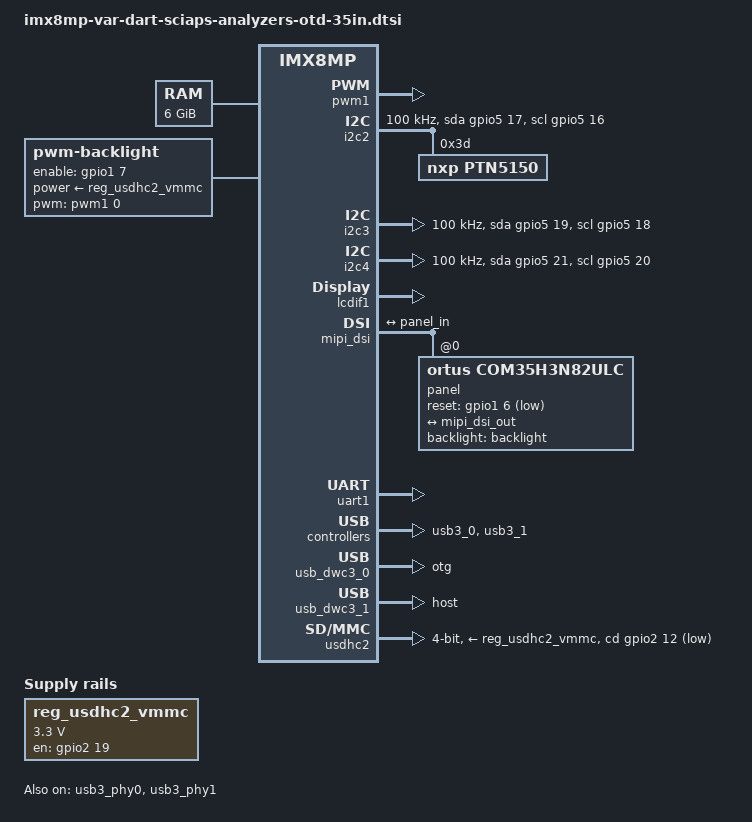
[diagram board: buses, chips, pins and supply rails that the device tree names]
// SPDX-License-Identifier: (GPL-2.0+ OR MIT)
/*
 * Copyright 2019 NXP
 * Copyright 2020-2023 Variscite Ltd.
 * Copyright 2025 SciAps.
 */

#ifdef DART_REV_1X
#include "imx8mp-var-dart-1.x.dtsi"
#else
#include "imx8mp-var-dart.dtsi"
#endif

/ {
	chosen {
		stdout-path = &uart1;
	};

	memory@40000000 {
		device_type = "memory";
		reg = <0x0 0x40000000 0 0xc0000000>,
		      <0x1 0x00000000 0 0xc0000000>;
	};

	reg_usdhc2_vmmc: regulator-usdhc2-vmmc {
		compatible = "regulator-fixed";
		pinctrl-names = "default";
		pinctrl-0 = <&pinctrl_reg_usdhc2_vmmc>;
		regulator-name = "VSD_3V3";
		regulator-min-microvolt = <3300000>;
		regulator-max-microvolt = <3300000>;
		gpio = <&gpio2 19 GPIO_ACTIVE_HIGH>;
		enable-active-high;
		startup-delay-us = <100>;
		off-on-delay-us = <12000>;
	};

	dsi_host: dsi-host {
		compatible = "samsung,sec-mipi-dsi";
		status = "okay";
	};

	backlight: backlight {
		compatible = "pwm-backlight";
		brightness-levels = < 0  1  2  3  4  5  6  7  8  9
				     10 11 12 13 14 15 16 17 18 19
				     20 21 22 23 24 25 26 27 28 29
				     30 31 32 33 34 35 36 37 38 39
				     40 41 42 43 44 45 46 47 48 49
				     50 51 52 53 54 55 56 57 58 59
				     60 61 62 63 64 65 66 67 68 69
				     70 71 72 73 74 75 76 77 78 79
				     80 81 82 83 84 85 86 87 88 89
				     90 91 92 93 94 95 96 97 98 99
				    100>;
		default-brightness-level = <80>;
		enable-gpios = <&gpio1 7 GPIO_ACTIVE_HIGH>;
		pinctrl-names = "default";
		pinctrl-0 = <&pinctrl_backlight>;
		power-supply = <&reg_usdhc2_vmmc>;
		pwms = <&pwm1 0 50000 0>;
		status = "okay";
	};
};

&pwm1 {
	pinctrl-names = "default";
	pinctrl-0 = <&pinctrl_pwm1>;
	status = "okay";
};

&eqos {
	status = "disabled";
	mdio {
		ethphy0: ethernet-phy@0 {
			compatible = "ethernet-phy-ieee802.3-c22";
			reg = <0>;
			at803x,eee-disabled;
			eee-broken-1000t;
			reset-gpios = <&gpio2 11 GPIO_ACTIVE_LOW>;
			reset-assert-us = <10000>;
			reset-deassert-us = <20000>;
			vddio-supply = <&vddio0>;
			status = "disabled";

			vddio0: vddio-regulator {
				regulator-min-microvolt = <1800000>;
				regulator-max-microvolt = <1800000>;
			};
		};
		ethphy1: ethernet-phy@1 {
			compatible = "ethernet-phy-ieee802.3-c22";
			reg = <1>;
			at803x,eee-disabled;
			eee-broken-1000t;
			//reset-gpios = <&pca6408_2 0 GPIO_ACTIVE_LOW>;
			reset-assert-us = <10000>;
			reset-deassert-us = <20000>;
			vddio-supply = <&vddio1>;
			status = "disabled";

			vddio1: vddio-regulator {
				regulator-min-microvolt = <1800000>;
				regulator-max-microvolt = <1800000>;
			};
		};
	};
};

&fec {
	pinctrl-names = "default";
	pinctrl-0 = <&pinctrl_fec>;
	phy-mode = "rgmii";
	phy-handle = <&ethphy1>;
	status = "disabled";
};

&i2c2 {
	clock-frequency = <100000>;
	pinctrl-names = "default", "gpio";
	pinctrl-0 = <&pinctrl_i2c2>;
	pinctrl-1 = <&pinctrl_i2c2_gpio>;
	scl-gpios = <&gpio5 16 GPIO_ACTIVE_HIGH>;
	sda-gpios = <&gpio5 17 GPIO_ACTIVE_HIGH>;
	status = "okay";

	ptn5150: ptn5150@3d {
		compatible = "nxp,ptn5150";
		pinctrl-names = "default";
		reg = <0x3d>;
		i2c-bus = <0x1>;
		status = "okay";
	};
};

&i2c3 {
	clock-frequency = <100000>;
	pinctrl-names = "default", "gpio";
	pinctrl-0 = <&pinctrl_i2c3>;
	pinctrl-1 = <&pinctrl_i2c3_gpio>;
	scl-gpios = <&gpio5 18 GPIO_ACTIVE_HIGH>;
	sda-gpios = <&gpio5 19 GPIO_ACTIVE_HIGH>;
	status = "okay";
};

&i2c4 {
	clock-frequency = <100000>;
	pinctrl-names = "default", "gpio";
	pinctrl-0 = <&pinctrl_i2c4>;
	pinctrl-1 = <&pinctrl_i2c4_gpio>;
	scl-gpios = <&gpio5 20 GPIO_ACTIVE_HIGH>;
	sda-gpios = <&gpio5 21 GPIO_ACTIVE_HIGH>;
	status = "okay";
};

&lcdif1 {
	status = "okay";
};

&mipi_dsi {
	status = "okay";

	panel@0 {
		compatible = "ortus,com35h3n82ulc";
		pinctrl-names = "default";
		reg = <0>;
		pinctrl-0 = <&pinctrl_mipi_dsi>;
		backlight = <&backlight>;
		reset-gpio = <&gpio1 6 GPIO_ACTIVE_LOW>;
		dsi-lanes = <2>;
		video-mode = <2>;	/* 0: burst mode
					 * 1: non-burst mode with sync event
					 * 2: non-burst mode with sync pulse
					 */
		status = "okay";

		port {
			panel_in: endpoint {
				remote-endpoint = <&mipi_dsi_out>;
			};
		};
	};

	ports {
		#address-cells = <1>;
		#size-cells = <0>;
		port@1 {
			reg = <1>;
			mipi_dsi_out: endpoint {
				remote-endpoint = <&panel_in>;
			};
		};
	};
};


&uart1 {
	pinctrl-names = "default";
	pinctrl-0 = <&pinctrl_uart1>;
	status = "okay";
};

&usb3_phy0 {
	fsl,phy-tx-vref-tune = <0xe>;
	fsl,phy-tx-preemp-amp-tune = <3>;
	fsl,phy-tx-vboost-level = <5>;
	fsl,phy-comp-dis-tune = <7>;
	fsl,pcs-tx-deemph-3p5db = <0x21>;
	fsl,phy-pcs-tx-swing-full = <0x7f>;
	status = "okay";
};

&usb3_0 {
	status = "okay";
};

&usb_dwc3_0 {
	dr_mode = "otg";
	extcon = <&ptn5150>;
	hnp-disable;
	srp-disable;
	adp-disable;
	usb-role-switch;
	role-switch-default-mode = "none";
	status = "okay";
};

&usb3_phy1 {
	fsl,phy-tx-preemp-amp-tune = <3>;
	fsl,phy-tx-vref-tune = <0xb>;
	status = "okay";
};

&usb3_1 {
	status = "okay";
};

&usb_dwc3_1 {
	dr_mode = "host";
	status = "okay";
};

&usdhc2 {
	pinctrl-names = "default", "state_100mhz", "state_200mhz";
	pinctrl-0 = <&pinctrl_usdhc2>, <&pinctrl_usdhc2_gpio>;
	pinctrl-1 = <&pinctrl_usdhc2_100mhz>, <&pinctrl_usdhc2_gpio>;
	pinctrl-2 = <&pinctrl_usdhc2_200mhz>, <&pinctrl_usdhc2_gpio>;
	cd-gpios = <&gpio2 12 GPIO_ACTIVE_LOW>;
	vmmc-supply = <&reg_usdhc2_vmmc>;
	bus-width = <4>;
	no-1-8-v;
	status = "okay";
};

&iomuxc {
	pinctrl_fec: fecgrp {
		fsl,pins = <
			MX8MP_IOMUXC_SAI1_RXD4__ENET1_RGMII_RD0                         0x90
			MX8MP_IOMUXC_SAI1_RXD5__ENET1_RGMII_RD1                         0x90
			MX8MP_IOMUXC_SAI1_RXD6__ENET1_RGMII_RD2                         0x90
			MX8MP_IOMUXC_SAI1_RXD7__ENET1_RGMII_RD3                         0x90
			MX8MP_IOMUXC_SAI1_TXC__ENET1_RGMII_RXC                          0x90
			MX8MP_IOMUXC_SAI1_TXFS__ENET1_RGMII_RX_CTL                      0x90
			MX8MP_IOMUXC_SAI1_TXD0__ENET1_RGMII_TD0                         0x00
			MX8MP_IOMUXC_SAI1_TXD1__ENET1_RGMII_TD1                         0x00
			MX8MP_IOMUXC_SAI1_TXD2__ENET1_RGMII_TD2                         0x00
			MX8MP_IOMUXC_SAI1_TXD3__ENET1_RGMII_TD3                         0x00
			MX8MP_IOMUXC_SAI1_TXD4__ENET1_RGMII_TX_CTL                      0x00
			MX8MP_IOMUXC_SAI1_TXD5__ENET1_RGMII_TXC                         0x00
		>;
	};

	pinctrl_backlight: backlightgrp {
		fsl,pins = <
			MX8MP_IOMUXC_GPIO1_IO07__GPIO1_IO07				0x16
		>;
	};

	pinctrl_pwm1: pwm1grp {
		fsl,pins = <
			MX8MP_IOMUXC_GPIO1_IO01__PWM1_OUT				0x116
		>;
	};

	pinctrl_i2c2: i2c2grp {
		fsl,pins = <
			MX8MP_IOMUXC_I2C2_SCL__I2C2_SCL					0x400001c2
			MX8MP_IOMUXC_I2C2_SDA__I2C2_SDA					0x400001c2
		>;
	};

	pinctrl_i2c3: i2c3grp {
		fsl,pins = <
			MX8MP_IOMUXC_I2C3_SCL__I2C3_SCL					0x400001c2
			MX8MP_IOMUXC_I2C3_SDA__I2C3_SDA					0x400001c2
		>;
	};

	pinctrl_i2c4: i2c4grp {
		fsl,pins = <
			MX8MP_IOMUXC_I2C4_SCL__I2C4_SCL					0x400001c2
			MX8MP_IOMUXC_I2C4_SDA__I2C4_SDA					0x400001c2
		>;
	};

	pinctrl_i2c6: i2c6grp {
		fsl,pins = <
			MX8MP_IOMUXC_HDMI_CEC__I2C6_SCL					0x400001c2
			MX8MP_IOMUXC_HDMI_HPD__I2C6_SDA					0x400001c2
		>;
	};

	pinctrl_i2c2_gpio: i2c2-gpiogrp {
		fsl,pins = <
			MX8MP_IOMUXC_I2C2_SCL__GPIO5_IO16				0x1c2
			MX8MP_IOMUXC_I2C2_SDA__GPIO5_IO17				0x1c2
		>;
	};

	pinctrl_i2c3_gpio: i2c3-gpiogrp {
		fsl,pins = <
			MX8MP_IOMUXC_I2C3_SCL__GPIO5_IO18				0x1c2
			MX8MP_IOMUXC_I2C3_SDA__GPIO5_IO19				0x1c2
		>;
	};

	pinctrl_i2c4_gpio: i2c4-gpiogrp {
		fsl,pins = <
			MX8MP_IOMUXC_I2C4_SCL__GPIO5_IO20				0x1c2
			MX8MP_IOMUXC_I2C4_SDA__GPIO5_IO21				0x1c2
		>;
	};

	pinctrl_i2c6_gpio: i2c6gpiogrp {
		fsl,pins = <
			MX8MP_IOMUXC_I2C4_SCL__GPIO5_IO20				0x1c2
			MX8MP_IOMUXC_I2C4_SDA__GPIO5_IO21				0x1c2
		>;
	};

	pinctrl_mipi_dsi: mipidsigrp {
		fsl,pins = <
			MX8MP_IOMUXC_GPIO1_IO06__GPIO1_IO06				0x16 // LCD nRst: pulled down on schematics , Fast slew rate, drivestrength x6
		>;
	};

	pinctrl_lvds: lvdsgrp {
		fsl,pins = <
			MX8MP_IOMUXC_GPIO1_IO06__GPIO1_IO06				0x16
		>;
	};

	pinctrl_reg_usdhc2_vmmc: regusdhc2vmmc {
		fsl,pins = <
			MX8MP_IOMUXC_SD2_RESET_B__GPIO2_IO19				0x40
		>;
	};

	pinctrl_uart1: uart1grp {
		fsl,pins = <
			MX8MP_IOMUXC_UART1_RXD__UART1_DCE_RX                            0x40
			MX8MP_IOMUXC_UART1_TXD__UART1_DCE_TX                            0x40
		>;
	};

	pinctrl_usdhc2: usdhc2grp {
		fsl,pins = <
			MX8MP_IOMUXC_SD2_CLK__USDHC2_CLK				0x190
			MX8MP_IOMUXC_SD2_CMD__USDHC2_CMD				0x1d0
			MX8MP_IOMUXC_SD2_DATA0__USDHC2_DATA0				0x1d0
			MX8MP_IOMUXC_SD2_DATA1__USDHC2_DATA1				0x1d0
			MX8MP_IOMUXC_SD2_DATA2__USDHC2_DATA2				0x1d0
			MX8MP_IOMUXC_SD2_DATA3__USDHC2_DATA3				0x1d0
			MX8MP_IOMUXC_GPIO1_IO04__USDHC2_VSELECT				0xc0
		>;
	};

	pinctrl_usdhc2_100mhz: usdhc2-100mhzgrp {
		fsl,pins = <
			MX8MP_IOMUXC_SD2_CLK__USDHC2_CLK				0x194
			MX8MP_IOMUXC_SD2_CMD__USDHC2_CMD				0x1d4
			MX8MP_IOMUXC_SD2_DATA0__USDHC2_DATA0				0x1d4
			MX8MP_IOMUXC_SD2_DATA1__USDHC2_DATA1				0x1d4
			MX8MP_IOMUXC_SD2_DATA2__USDHC2_DATA2				0x1d4
			MX8MP_IOMUXC_SD2_DATA3__USDHC2_DATA3				0x1d4
			MX8MP_IOMUXC_GPIO1_IO04__USDHC2_VSELECT				0xc0
		>;
	};

	pinctrl_usdhc2_200mhz: usdhc2-200mhzgrp {
		fsl,pins = <
			MX8MP_IOMUXC_SD2_CLK__USDHC2_CLK				0x196
			MX8MP_IOMUXC_SD2_CMD__USDHC2_CMD				0x1d6
			MX8MP_IOMUXC_SD2_DATA0__USDHC2_DATA0				0x1d6
			MX8MP_IOMUXC_SD2_DATA1__USDHC2_DATA1				0x1d6
			MX8MP_IOMUXC_SD2_DATA2__USDHC2_DATA2				0x1d6
			MX8MP_IOMUXC_SD2_DATA3__USDHC2_DATA3				0x1d6
			MX8MP_IOMUXC_GPIO1_IO04__USDHC2_VSELECT				0xc0
		>;
	};

	pinctrl_usdhc2_gpio: usdhc2gpiogrp {
		fsl,pins = <
			MX8MP_IOMUXC_SD2_CD_B__GPIO2_IO12				0x1c4
		>;
	};
};
